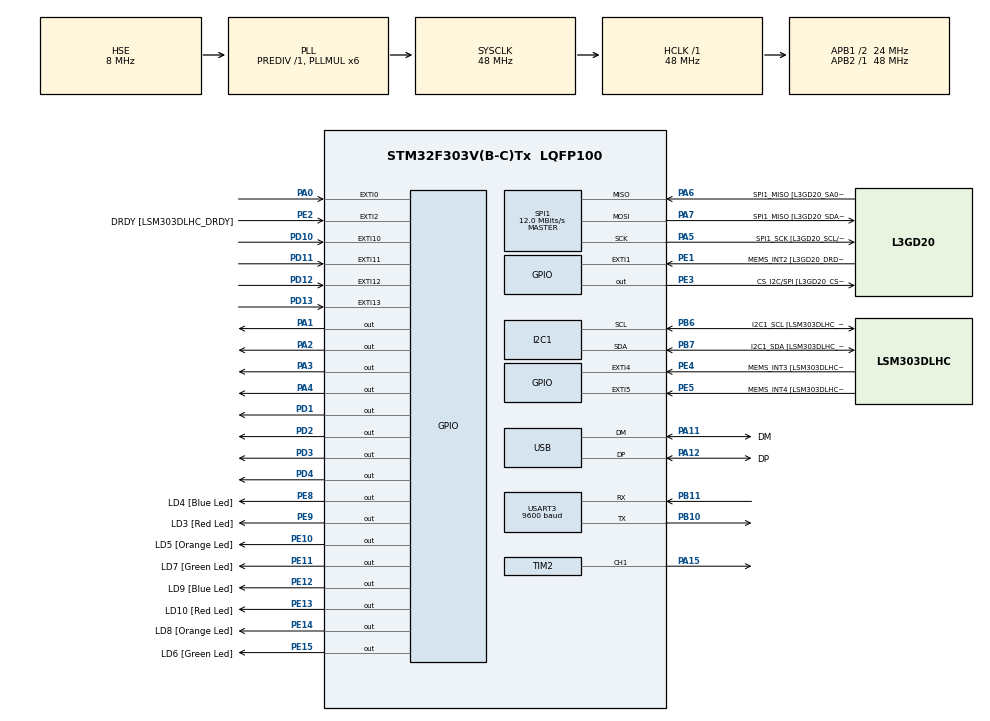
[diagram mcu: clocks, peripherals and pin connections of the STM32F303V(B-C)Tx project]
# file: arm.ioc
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I2C1.Timing=0x2000090E
I2C1.Timing-I2C=0x2000090E
Mcu.Family=STM32F3
Mcu.Name=STM32F303V(B-C)Tx
Mcu.Package=LQFP100
NVIC.EXTI0_IRQn=true\:0\:0\:false\:false\:true\:true\:true\:true
NVIC.EXTI15_10_IRQn=true\:0\:0\:false\:false\:true\:true\:true\:true
NVIC.PriorityGroup=NVIC_PRIORITYGROUP_0
NVIC.TIM1_BRK_TIM15_IRQn=true\:0\:0\:false\:false\:true\:true\:true\:true
NVIC.TIM1_CC_IRQn=true\:0\:0\:false\:false\:true\:true\:true\:true
NVIC.TIM1_TRG_COM_TIM17_IRQn=true\:0\:0\:false\:false\:true\:true\:true\:true
NVIC.TIM1_UP_TIM16_IRQn=true\:0\:0\:false\:false\:true\:true\:true\:true
NVIC.TIM4_IRQn=true\:0\:0\:false\:false\:true\:true\:true\:true
NVIC.USART3_IRQn=true\:0\:0\:false\:false\:true\:true\:true\:true
PA0.GPIO_PuPd=GPIO_PULLDOWN
PA0.Signal=GPXTI0
PA1.Signal=GPIO_Output
PA11.GPIO_Label=DM
PA11.Mode=Device
PA11.Signal=USB_DM
PA12.GPIO_Label=DP
PA12.Mode=Device
PA12.Signal=USB_DP
PA13.GPIO_Label=SWDIO
PA13.Mode=Serial_Wire
PA13.Signal=SYS_JTMS-SWDIO
PA14.GPIO_Label=SWCLK
PA14.Mode=Serial_Wire
PA14.Signal=SYS_JTCK-SWCLK
PA15.Signal=S_TIM2_CH1_ETR
PA2.Signal=GPIO_Output
PA3.Signal=GPIO_Output
PA4.Signal=GPIO_Output
PA5.GPIO_Label=SPI1_SCK [L3GD20_SCL/SPC]
PA5.Mode=Full_Duplex_Master
PA5.Signal=SPI1_SCK
PA6.GPIO_Label=SPI1_MISO [L3GD20_SA0/SDO]
PA6.Mode=Full_Duplex_Master
PA6.Signal=SPI1_MISO
PA7.GPIO_Label=SPI1_MISO [L3GD20_SDA/SDI/SDO]
PA7.Mode=Full_Duplex_Master
PA7.Signal=SPI1_MOSI
PB10.Mode=Asynchronous
PB10.Signal=USART3_TX
PB11.Mode=Asynchronous
PB11.Signal=USART3_RX
PB3.GPIO_Label=SWO
PB3.Signal=SYS_JTDO-TRACESWO
PB6.GPIO_Label=I2C1_SCL [LSM303DLHC_SCL]
PB6.GPIO_Pu=GPIO_PULLUP
PB6.Mode=I2C
PB6.Signal=I2C1_SCL
PB7.GPIO_Label=I2C1_SDA [LSM303DLHC_SDA]
PB7.GPIO_Pu=GPIO_PULLUP
PB7.Mode=I2C
PB7.Signal=I2C1_SDA
PC14-OSC32_IN.GPIO_Label=OSC32_IN
PC14-OSC32_IN.Signal=RCC_OSC32_IN
PC15-OSC32_OUT.GPIO_Label=OSC32_OUT
PC15-OSC32_OUT.Signal=RCC_OSC32_OUT
PD1.Signal=GPIO_Output
PD10.GPIO_PuPd=GPIO_PULLDOWN
PD10.Signal=GPXTI10
PD11.GPIO_PuPd=GPIO_PULLDOWN
PD11.Signal=GPXTI11
PD12.GPIO_PuPd=GPIO_PULLDOWN
PD12.Signal=GPXTI12
PD13.GPIO_PuPd=GPIO_PULLDOWN
PD13.Signal=GPXTI13
PD2.Signal=GPIO_Output
PD3.Signal=GPIO_Output
PD4.Signal=GPIO_Output
PE1.GPIO_Label=MEMS_INT2 [L3GD20_DRDY/INT2]
PE1.GPIO_ModeDefaultEXTI=GPIO_MODE_EVT_RISING
PE1.Signal=GPXTI1
PE10.GPIO_Label=LD5 [Orange Led]
PE10.Signal=GPIO_Output
PE11.GPIO_Label=LD7 [Green Led]
PE11.Signal=GPIO_Output
PE12.GPIO_Label=LD9 [Blue Led]
PE12.Signal=GPIO_Output
PE13.GPIO_Label=LD10 [Red Led]
PE13.Signal=GPIO_Output
PE14.GPIO_Label=LD8 [Orange Led]
PE14.Signal=GPIO_Output
PE15.GPIO_Label=LD6 [Green Led]
PE15.Signal=GPIO_Output
PE2.GPIO_Label=DRDY [LSM303DLHC_DRDY]
PE2.GPIO_ModeDefaultEXTI=GPIO_MODE_EVT_RISING
PE2.Signal=GPXTI2
PE3.GPIO_Label=CS_I2C/SPI [L3GD20_CS_I2C/SPI]
PE3.Signal=GPIO_Output
PE4.GPIO_Label=MEMS_INT3 [LSM303DLHC_INT1]
PE4.GPIO_ModeDefaultEXTI=GPIO_MODE_EVT_RISING
PE4.Signal=GPXTI4
PE5.GPIO_Label=MEMS_INT4 [LSM303DLHC_INT2]
PE5.GPIO_ModeDefaultEXTI=GPIO_MODE_EVT_RISING
PE5.Signal=GPXTI5
PE8.GPIO_Label=LD4 [Blue Led]
PE8.Signal=GPIO_Output
PE9.GPIO_Label=LD3 [Red Led]
PE9.Signal=GPIO_Output
PF0-OSC_IN.GPIO_Label=OSC_IN
PF0-OSC_IN.Mode=HSE-External-Clock-Source
PF0-OSC_IN.Signal=RCC_OSC_IN
PF1-OSC_OUT.GPIO_Label=OSC_OUT
PF1-OSC_OUT.Signal=RCC_OSC_OUT
ProjectManager.HeapSize=0x200
ProjectManager.StackSize=0x400
ProjectManager.TargetToolchain=STM32CubeIDE
RCC.AHBFreq_Value=48000000
RCC.APB1CLKDivider=RCC_HCLK_DIV2
RCC.APB1Freq_Value=24000000
RCC.APB1TimFreq_Value=48000000
RCC.APB2Freq_Value=48000000
RCC.APB2TimFreq_Value=48000000
RCC.CortexFreq_Value=48000000
RCC.HCLKFreq_Value=48000000
RCC.HSE_VALUE=8000000
RCC.HSI_VALUE=8000000
RCC.LSE_VALUE=32768
RCC.PLLMUL=RCC_PLL_MUL6
RCC.SYSCLKFreq_VALUE=48000000
RCC.SYSCLKSourceVirtual=RCC_SYSCLKSOURCE_PLLCLK
RCC.USBFreq_Value=48000000
SH.S_TIM2_CH1_ETR.0=TIM2_CH1,PWM Generation1 CH1
SPI1.BaudRatePrescaler=SPI_BAUDRATEPRESCALER_4
SPI1.BaudRatePrescaler-Full_Duplex_Master=SPI_BAUDRATEPRESCALER_2
SPI1.CalculateBaudRate=12.0 MBits/s
SPI1.CalculateBaudRate-Full_Duplex_Master=24.0 MBits/s
SPI1.Direction=SPI_DIRECTION_2LINES
SPI1.Mode=SPI_MODE_MASTER
SPI1.Mode-Full_Duplex_Master=SPI_MODE_MASTER
SPI1.VirtualType=VM_MASTER
TIM1.Period=999
TIM1.Prescaler=2399
TIM2.Channel-PWM\ Generation1\ CH1=TIM_CHANNEL_1
TIM4.Period=999
TIM4.Prescaler=23
USART3.BaudRate=9600
USART3.VirtualMode-Asynchronous=VM_ASYNC
VP_TIM1_VS_ClockSourceINT.Mode=Internal
VP_TIM2_VS_ClockSourceINT.Mode=Internal
VP_TIM4_VS_ClockSourceINT.Mode=Internal
board=STM32F3DISCOVERY

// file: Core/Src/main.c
/* USER CODE BEGIN Header */
/**
  ******************************************************************************
  * @file           : main.c
  * @brief          : Main program body
  ******************************************************************************
  * @attention
  *
  * Copyright (c) 2022 STMicroelectronics.
  * All rights reserved.
  *
  * This software is licensed under terms that can be found in the LICENSE file
  * in the root directory of this software component.
  * If no LICENSE file comes with this software, it is provided AS-IS.
  *
  ******************************************************************************
  */
/* USER CODE END Header */
#include "main.h"

/* USER CODE BEGIN Includes */
#include "stdlib.h"
#include "string.h"
#include "ctype.h"
#include "math.h"

/* USER CODE END Includes */

/* USER CODE BEGIN PTD */
/*
 *  1. Set Max Level
 *  2. Set Level
 *  3. Set Wait
 *  4. Set LED
 *  5. Test
 *  6. Admin
 *  7. Start
 *
 */
typedef struct ProcessCommandResult {
	int command_number;
	char message[50];
	int parameters[10];
} ProcessCommandResult;

typedef struct Queue{
	int floors[10];
	int length; //count of floors in queue
} Queue;

/*
 * 1 => Empty State
 * 2 => Admin State
 * 3 => Move State
 * 4 => Waiting State
 */
typedef int State;

/* USER CODE END PTD */

/* USER CODE BEGIN PD */
#define ES 1  //Empty State
#define AS 2  //Admin State
#define MS 3   //Move State
#define WS 4	//Wait State
#define MOVE_TIME 1000

/* USER CODE END PD */

I2C_HandleTypeDef hi2c1;

SPI_HandleTypeDef hspi1;

TIM_HandleTypeDef htim1;
TIM_HandleTypeDef htim2;
TIM_HandleTypeDef htim4;

UART_HandleTypeDef huart3;

PCD_HandleTypeDef hpcd_USB_FS;

/* USER CODE BEGIN PV */
unsigned char uart_buffer[20];
unsigned char uart_data;
int uart_buffer_pos = 0;

int max_level = 9;
int level = 0; //current floor
int next_floor = -1;
int choice_floor = 0;
Queue floors_queue;
int wait_time = 2000;
int wait_counter = 1;
int move_counter = 1;
State state = ES;

int on_off_danger_time = 0;
int is_danger_button_active = 0;
int led_status;
int should_led_on_in_alarm = 0;
int is_user_can_active_alarm = 1;

int gpio_external_button_time =0;

int ssEnableDigit = 1;

/* USER CODE END PV */

void SystemClock_Config(void);
static void MX_GPIO_Init(void);
static void MX_I2C1_Init(void);
static void MX_SPI1_Init(void);
static void MX_USB_PCD_Init(void);
static void MX_TIM2_Init(void);
static void MX_TIM4_Init(void);
static void MX_USART3_UART_Init(void);
static void MX_TIM1_Init(void);
/* USER CODE BEGIN PFP */
//handlers
void HAL_GPIO_EXTI_Callback(uint16_t GPIO_Pin);
void HAL_TIM_PeriodElapsedCallback(TIM_HandleTypeDef *htim);
void HAL_UART_RxCpltCallback(UART_HandleTypeDef *huart);
//buzzer
void PWM_Play();
void PWM_Change_Tone(uint16_t pwm_freq, uint16_t volume);
void PWM_Pause();
void Update_Melody();
//elevator admin commands

ProcessCommandResult Process_Command(char* string);

ProcessCommandResult Get_Parameter_In_Command_START(char* string);
ProcessCommandResult Get_Parameter_In_Command_AP(char* string);
ProcessCommandResult Get_Parameter_In_Command_SML(char* string);
ProcessCommandResult Get_Parameter_In_Command_SL(char* string);
ProcessCommandResult Get_Parameter_In_Command_SLED(char* string);
ProcessCommandResult Get_Parameter_In_Command_SWT(char* string);
ProcessCommandResult Get_Parameter_In_Command_TEST(char* string);

//int to bcd
void intToBcd(int x);

//alarm (de)active functions
void Active_Danger_Alarm();
void DeActive_Danger_Alarm();
//floors queue
int Is_Floors_Queue_Empty(Queue* q);
int getFloorInQueue(Queue* q);
void setFloorInQueue(Queue* q,int new_floor);
void Init_Floors_In_Queue_With_Empty(Queue* q);
/* USER CODE END PFP */

int main(void)
{

  /* MCU Configuration--------------------------------------------------------*/

  /* Reset of all peripherals, Initializes the Flash interface and the Systick. */
  HAL_Init();

  /* Configure the system clock */
  SystemClock_Config();

  /* Initialize all configured peripherals */
  MX_GPIO_Init();
  MX_I2C1_Init();
  MX_SPI1_Init();
  MX_USB_PCD_Init();
  MX_TIM2_Init();
  MX_TIM4_Init();
  MX_USART3_UART_Init();
  MX_TIM1_Init();
  /* USER CODE BEGIN 2 */
  Init_Floors_In_Queue_With_Empty(&floors_queue);
  HAL_TIM_Base_Start_IT(&htim4);
  HAL_TIM_Base_Start_IT(&htim1);
  HAL_UART_Receive_IT(&huart3, &uart_data, sizeof(uart_data));
  /* USER CODE END 2 */

  /* Infinite loop */
  while (1)
  {

  }
}

void SystemClock_Config(void)
{
  RCC_OscInitTypeDef RCC_OscInitStruct = {0};
  RCC_ClkInitTypeDef RCC_ClkInitStruct = {0};
  RCC_PeriphCLKInitTypeDef PeriphClkInit = {0};

  /** Initializes the RCC Oscillators according to the specified parameters
  * in the RCC_OscInitTypeDef structure.
  */
  RCC_OscInitStruct.OscillatorType = RCC_OSCILLATORTYPE_HSI|RCC_OSCILLATORTYPE_HSE;
  RCC_OscInitStruct.HSEState = RCC_HSE_BYPASS;
  RCC_OscInitStruct.HSEPredivValue = RCC_HSE_PREDIV_DIV1;
  RCC_OscInitStruct.HSIState = RCC_HSI_ON;
  RCC_OscInitStruct.HSICalibrationValue = RCC_HSICALIBRATION_DEFAULT;
  RCC_OscInitStruct.PLL.PLLState = RCC_PLL_ON;
  RCC_OscInitStruct.PLL.PLLSource = RCC_PLLSOURCE_HSE;
  RCC_OscInitStruct.PLL.PLLMUL = RCC_PLL_MUL6;
  if (HAL_RCC_OscConfig(&RCC_OscInitStruct) != HAL_OK)
  {
    Error_Handler();
  }

  /** Initializes the CPU, AHB and APB buses clocks
  */
  RCC_ClkInitStruct.ClockType = RCC_CLOCKTYPE_HCLK|RCC_CLOCKTYPE_SYSCLK
                              |RCC_CLOCKTYPE_PCLK1|RCC_CLOCKTYPE_PCLK2;
  RCC_ClkInitStruct.SYSCLKSource = RCC_SYSCLKSOURCE_PLLCLK;
  RCC_ClkInitStruct.AHBCLKDivider = RCC_SYSCLK_DIV1;
  RCC_ClkInitStruct.APB1CLKDivider = RCC_HCLK_DIV2;
  RCC_ClkInitStruct.APB2CLKDivider = RCC_HCLK_DIV1;

  if (HAL_RCC_ClockConfig(&RCC_ClkInitStruct, FLASH_LATENCY_1) != HAL_OK)
  {
    Error_Handler();
  }
  PeriphClkInit.PeriphClockSelection = RCC_PERIPHCLK_USB|RCC_PERIPHCLK_USART3
                              |RCC_PERIPHCLK_I2C1|RCC_PERIPHCLK_TIM1;
  PeriphClkInit.Usart3ClockSelection = RCC_USART3CLKSOURCE_PCLK1;
  PeriphClkInit.I2c1ClockSelection = RCC_I2C1CLKSOURCE_HSI;
  PeriphClkInit.USBClockSelection = RCC_USBCLKSOURCE_PLL;
  PeriphClkInit.Tim1ClockSelection = RCC_TIM1CLK_HCLK;
  if (HAL_RCCEx_PeriphCLKConfig(&PeriphClkInit) != HAL_OK)
  {
    Error_Handler();
  }
}

static void MX_I2C1_Init(void)
{

  hi2c1.Instance = I2C1;
  hi2c1.Init.Timing = 0x2000090E;
  hi2c1.Init.OwnAddress1 = 0;
  hi2c1.Init.AddressingMode = I2C_ADDRESSINGMODE_7BIT;
  hi2c1.Init.DualAddressMode = I2C_DUALADDRESS_DISABLE;
  hi2c1.Init.OwnAddress2 = 0;
  hi2c1.Init.OwnAddress2Masks = I2C_OA2_NOMASK;
  hi2c1.Init.GeneralCallMode = I2C_GENERALCALL_DISABLE;
  hi2c1.Init.NoStretchMode = I2C_NOSTRETCH_DISABLE;
  if (HAL_I2C_Init(&hi2c1) != HAL_OK)
  {
    Error_Handler();
  }

  /** Configure Analogue filter
  */
  if (HAL_I2CEx_ConfigAnalogFilter(&hi2c1, I2C_ANALOGFILTER_ENABLE) != HAL_OK)
  {
    Error_Handler();
  }

  /** Configure Digital filter
  */
  if (HAL_I2CEx_ConfigDigitalFilter(&hi2c1, 0) != HAL_OK)
  {
    Error_Handler();
  }

}

static void MX_SPI1_Init(void)
{

  /* SPI1 parameter configuration*/
  hspi1.Instance = SPI1;
  hspi1.Init.Mode = SPI_MODE_MASTER;
  hspi1.Init.Direction = SPI_DIRECTION_2LINES;
  hspi1.Init.DataSize = SPI_DATASIZE_4BIT;
  hspi1.Init.CLKPolarity = SPI_POLARITY_LOW;
  hspi1.Init.CLKPhase = SPI_PHASE_1EDGE;
  hspi1.Init.NSS = SPI_NSS_SOFT;
  hspi1.Init.BaudRatePrescaler = SPI_BAUDRATEPRESCALER_4;
  hspi1.Init.FirstBit = SPI_FIRSTBIT_MSB;
  hspi1.Init.TIMode = SPI_TIMODE_DISABLE;
  hspi1.Init.CRCCalculation = SPI_CRCCALCULATION_DISABLE;
  hspi1.Init.CRCPolynomial = 7;
  hspi1.Init.CRCLength = SPI_CRC_LENGTH_DATASIZE;
  hspi1.Init.NSSPMode = SPI_NSS_PULSE_ENABLE;
  if (HAL_SPI_Init(&hspi1) != HAL_OK)
  {
    Error_Handler();
  }

}

static void MX_TIM1_Init(void)
{

  TIM_ClockConfigTypeDef sClockSourceConfig = {0};
  TIM_MasterConfigTypeDef sMasterConfig = {0};

  htim1.Instance = TIM1;
  htim1.Init.Prescaler = 2399;
  htim1.Init.CounterMode = TIM_COUNTERMODE_UP;
  htim1.Init.Period = 999;
  htim1.Init.ClockDivision = TIM_CLOCKDIVISION_DIV1;
  htim1.Init.RepetitionCounter = 0;
  htim1.Init.AutoReloadPreload = TIM_AUTORELOAD_PRELOAD_DISABLE;
  if (HAL_TIM_Base_Init(&htim1) != HAL_OK)
  {
    Error_Handler();
  }
  sClockSourceConfig.ClockSource = TIM_CLOCKSOURCE_INTERNAL;
  if (HAL_TIM_ConfigClockSource(&htim1, &sClockSourceConfig) != HAL_OK)
  {
    Error_Handler();
  }
  sMasterConfig.MasterOutputTrigger = TIM_TRGO_RESET;
  sMasterConfig.MasterOutputTrigger2 = TIM_TRGO2_RESET;
  sMasterConfig.MasterSlaveMode = TIM_MASTERSLAVEMODE_DISABLE;
  if (HAL_TIMEx_MasterConfigSynchronization(&htim1, &sMasterConfig) != HAL_OK)
  {
    Error_Handler();
  }

}

static void MX_TIM2_Init(void)
{

  TIM_ClockConfigTypeDef sClockSourceConfig = {0};
  TIM_MasterConfigTypeDef sMasterConfig = {0};
  TIM_OC_InitTypeDef sConfigOC = {0};

  htim2.Instance = TIM2;
  htim2.Init.Prescaler = 0;
  htim2.Init.CounterMode = TIM_COUNTERMODE_UP;
  htim2.Init.Period = 4294967295;
  htim2.Init.ClockDivision = TIM_CLOCKDIVISION_DIV1;
  htim2.Init.AutoReloadPreload = TIM_AUTORELOAD_PRELOAD_DISABLE;
  if (HAL_TIM_Base_Init(&htim2) != HAL_OK)
  {
    Error_Handler();
  }
  sClockSourceConfig.ClockSource = TIM_CLOCKSOURCE_INTERNAL;
  if (HAL_TIM_ConfigClockSource(&htim2, &sClockSourceConfig) != HAL_OK)
  {
    Error_Handler();
  }
  if (HAL_TIM_PWM_Init(&htim2) != HAL_OK)
  {
    Error_Handler();
  }
  sMasterConfig.MasterOutputTrigger = TIM_TRGO_RESET;
  sMasterConfig.MasterSlaveMode = TIM_MASTERSLAVEMODE_DISABLE;
  if (HAL_TIMEx_MasterConfigSynchronization(&htim2, &sMasterConfig) != HAL_OK)
  {
    Error_Handler();
  }
  sConfigOC.OCMode = TIM_OCMODE_PWM1;
  sConfigOC.Pulse = 0;
  sConfigOC.OCPolarity = TIM_OCPOLARITY_HIGH;
  sConfigOC.OCFastMode = TIM_OCFAST_DISABLE;
  if (HAL_TIM_PWM_ConfigChannel(&htim2, &sConfigOC, TIM_CHANNEL_1) != HAL_OK)
  {
    Error_Handler();
  }
  HAL_TIM_MspPostInit(&htim2);

}

static void MX_TIM4_Init(void)
{

  TIM_ClockConfigTypeDef sClockSourceConfig = {0};
  TIM_MasterConfigTypeDef sMasterConfig = {0};

  htim4.Instance = TIM4;
  htim4.Init.Prescaler = 23;
  htim4.Init.CounterMode = TIM_COUNTERMODE_UP;
  htim4.Init.Period = 999;
  htim4.Init.ClockDivision = TIM_CLOCKDIVISION_DIV1;
  htim4.Init.AutoReloadPreload = TIM_AUTORELOAD_PRELOAD_DISABLE;
  if (HAL_TIM_Base_Init(&htim4) != HAL_OK)
  {
    Error_Handler();
  }
  sClockSourceConfig.ClockSource = TIM_CLOCKSOURCE_INTERNAL;
  if (HAL_TIM_ConfigClockSource(&htim4, &sClockSourceConfig) != HAL_OK)
  {
    Error_Handler();
  }
  sMasterConfig.MasterOutputTrigger = TIM_TRGO_RESET;
  sMasterConfig.MasterSlaveMode = TIM_MASTERSLAVEMODE_DISABLE;
  if (HAL_TIMEx_MasterConfigSynchronization(&htim4, &sMasterConfig) != HAL_OK)
  {
    Error_Handler();
  }

}

static void MX_USART3_UART_Init(void)
{

  huart3.Instance = USART3;
  huart3.Init.BaudRate = 9600;
  huart3.Init.WordLength = UART_WORDLENGTH_8B;
  huart3.Init.StopBits = UART_STOPBITS_1;
  huart3.Init.Parity = UART_PARITY_NONE;
  huart3.Init.Mode = UART_MODE_TX_RX;
  huart3.Init.HwFlowCtl = UART_HWCONTROL_NONE;
  huart3.Init.OverSampling = UART_OVERSAMPLING_16;
  huart3.Init.OneBitSampling = UART_ONE_BIT_SAMPLE_DISABLE;
  huart3.AdvancedInit.AdvFeatureInit = UART_ADVFEATURE_NO_INIT;
  if (HAL_UART_Init(&huart3) != HAL_OK)
  {
    Error_Handler();
  }

}

static void MX_USB_PCD_Init(void)
{

  hpcd_USB_FS.Instance = USB;
  hpcd_USB_FS.Init.dev_endpoints = 8;
  hpcd_USB_FS.Init.speed = PCD_SPEED_FULL;
  hpcd_USB_FS.Init.phy_itface = PCD_PHY_EMBEDDED;
  hpcd_USB_FS.Init.low_power_enable = DISABLE;
  hpcd_USB_FS.Init.battery_charging_enable = DISABLE;
  if (HAL_PCD_Init(&hpcd_USB_FS) != HAL_OK)
  {
    Error_Handler();
  }

}

static void MX_GPIO_Init(void)
{
  GPIO_InitTypeDef GPIO_InitStruct = {0};

  /* GPIO Ports Clock Enable */
  __HAL_RCC_GPIOE_CLK_ENABLE();
  __HAL_RCC_GPIOC_CLK_ENABLE();
  __HAL_RCC_GPIOF_CLK_ENABLE();
  __HAL_RCC_GPIOA_CLK_ENABLE();
  __HAL_RCC_GPIOB_CLK_ENABLE();
  __HAL_RCC_GPIOD_CLK_ENABLE();

  /*Configure GPIO pin Output Level */
  HAL_GPIO_WritePin(GPIOE, CS_I2C_SPI_Pin|LD4_Pin|LD3_Pin|LD5_Pin
                          |LD7_Pin|LD9_Pin|LD10_Pin|LD8_Pin
                          |LD6_Pin, GPIO_PIN_RESET);

  /*Configure GPIO pin Output Level */
  HAL_GPIO_WritePin(GPIOA, GPIO_PIN_1|GPIO_PIN_2|GPIO_PIN_3|GPIO_PIN_4, GPIO_PIN_RESET);

  /*Configure GPIO pin Output Level */
  HAL_GPIO_WritePin(GPIOD, GPIO_PIN_1|GPIO_PIN_2|GPIO_PIN_3|GPIO_PIN_4, GPIO_PIN_RESET);

  /*Configure GPIO pins : DRDY_Pin MEMS_INT3_Pin MEMS_INT4_Pin MEMS_INT2_Pin */
  GPIO_InitStruct.Pin = DRDY_Pin|MEMS_INT3_Pin|MEMS_INT4_Pin|MEMS_INT2_Pin;
  GPIO_InitStruct.Mode = GPIO_MODE_EVT_RISING;
  GPIO_InitStruct.Pull = GPIO_NOPULL;
  HAL_GPIO_Init(GPIOE, &GPIO_InitStruct);

  /*Configure GPIO pins : CS_I2C_SPI_Pin LD4_Pin LD3_Pin LD5_Pin
                           LD7_Pin LD9_Pin LD10_Pin LD8_Pin
                           LD6_Pin */
  GPIO_InitStruct.Pin = CS_I2C_SPI_Pin|LD4_Pin|LD3_Pin|LD5_Pin
                          |LD7_Pin|LD9_Pin|LD10_Pin|LD8_Pin
                          |LD6_Pin;
  GPIO_InitStruct.Mode = GPIO_MODE_OUTPUT_PP;
  GPIO_InitStruct.Pull = GPIO_NOPULL;
  GPIO_InitStruct.Speed = GPIO_SPEED_FREQ_LOW;
  HAL_GPIO_Init(GPIOE, &GPIO_InitStruct);

  /*Configure GPIO pin : PA0 */
  GPIO_InitStruct.Pin = GPIO_PIN_0;
  GPIO_InitStruct.Mode = GPIO_MODE_IT_RISING;
  GPIO_InitStruct.Pull = GPIO_PULLDOWN;
  HAL_GPIO_Init(GPIOA, &GPIO_InitStruct);

  /*Configure GPIO pins : PA1 PA2 PA3 PA4 */
  GPIO_InitStruct.Pin = GPIO_PIN_1|GPIO_PIN_2|GPIO_PIN_3|GPIO_PIN_4;
  GPIO_InitStruct.Mode = GPIO_MODE_OUTPUT_PP;
  GPIO_InitStruct.Pull = GPIO_NOPULL;
  GPIO_InitStruct.Speed = GPIO_SPEED_FREQ_LOW;
  HAL_GPIO_Init(GPIOA, &GPIO_InitStruct);

  /*Configure GPIO pins : PD10 PD11 PD12 PD13 */
  GPIO_InitStruct.Pin = GPIO_PIN_10|GPIO_PIN_11|GPIO_PIN_12|GPIO_PIN_13;
  GPIO_InitStruct.Mode = GPIO_MODE_IT_RISING;
  GPIO_InitStruct.Pull = GPIO_PULLDOWN;
  HAL_GPIO_Init(GPIOD, &GPIO_InitStruct);

  /*Configure GPIO pins : PD1 PD2 PD3 PD4 */
  GPIO_InitStruct.Pin = GPIO_PIN_1|GPIO_PIN_2|GPIO_PIN_3|GPIO_PIN_4;
  GPIO_InitStruct.Mode = GPIO_MODE_OUTPUT_PP;
  GPIO_InitStruct.Pull = GPIO_NOPULL;
  GPIO_InitStruct.Speed = GPIO_SPEED_FREQ_LOW;
  HAL_GPIO_Init(GPIOD, &GPIO_InitStruct);

  /* EXTI interrupt init*/
  HAL_NVIC_SetPriority(EXTI0_IRQn, 0, 0);
  HAL_NVIC_EnableIRQ(EXTI0_IRQn);

  HAL_NVIC_SetPriority(EXTI15_10_IRQn, 0, 0);
  HAL_NVIC_EnableIRQ(EXTI15_10_IRQn);

}

/* USER CODE BEGIN 4 */
void Init_Floors_In_Queue_With_Empty(Queue* q){
	for (int i=0;i<10;i++){
		q->floors[i] = -1;
	}
	q->length=0;
	return;
}
int Is_Floors_Queue_Empty(Queue* q){
	if(q->floors[0] == -1){
		return 1;
	}else{
		return 0;
	}
}

int getFloorInQueue(Queue* q){

	int temp = q->floors[0];
	for(int i=0;i <max_level-1;i++){
		q->floors[i] = q->floors[i+1];
	}
	q->floors[max_level - 1] = -1;
	q->length--;
	return temp;
}

void setFloorInQueue(Queue* q,int new_floor){
	if(new_floor==next_floor){
		return;
	}
	for(int i=0 ; i < max_level ; i++){
		if(q->floors[i] == new_floor){
			return;
		}
	}

	q->floors[q->length] = new_floor;
	if(new_floor >= 0){
		q->length++;
	}
	return;
}

void Active_Danger_Alarm(){
	  HAL_TIM_PWM_Start(&htim2, TIM_CHANNEL_1);
	  is_danger_button_active =1;
}
void DeActive_Danger_Alarm(){
	  HAL_TIM_PWM_Stop(&htim2, TIM_CHANNEL_1);
   	  is_danger_button_active =0;
}

void HAL_GPIO_EXTI_Callback(uint16_t GPIO_Pin){
	if(HAL_GetTick() - gpio_external_button_time <200){
		return;
	}

	if(GPIO_Pin == GPIO_PIN_10){
		if(choice_floor == max_level){
			choice_floor = max_level;
		}else{
			choice_floor += 1;
		}
	}else if(GPIO_Pin == GPIO_PIN_11){
		if(choice_floor == 0){
			choice_floor = 0;
		}else{
			choice_floor -= 1;
		}
	}else if(GPIO_Pin == GPIO_PIN_12){
		if(state == ES){
			setFloorInQueue(&floors_queue, choice_floor);
			next_floor = getFloorInQueue(&floors_queue);
			state = MS;
		}else if(state == MS || state == WS){
			setFloorInQueue(&floors_queue, choice_floor);
		}
	}else if(GPIO_Pin == GPIO_PIN_0){
		if(is_user_can_active_alarm == 1){
			if(is_danger_button_active == 0){
				Active_Danger_Alarm();
			}else{
				DeActive_Danger_Alarm();
				HAL_GPIO_WritePin(GPIOE, GPIO_PIN_8 | GPIO_PIN_9| GPIO_PIN_10 | GPIO_PIN_11 | GPIO_PIN_12 | GPIO_PIN_13 | GPIO_PIN_14 | GPIO_PIN_15, 0);
			}
		}
	}
}
void intToBcd(int num){
  int x1 = num & 1; //PA4 --> A  0001  kam arzesh
  int x2 = num & 2; //PA3 --> B
  int x3 = num & 4; //PA2 --> C
  int x4 = num & 8; //PA1 --> D 1000 ba arzesh
  if(x1>0) x1=1;
  if(x2>0) x2=1;
  if(x3>0) x3=1;
  if(x4>0) x4=1;
  HAL_GPIO_WritePin(GPIOA, GPIO_PIN_1, x4);
  HAL_GPIO_WritePin(GPIOA, GPIO_PIN_2, x3);
  HAL_GPIO_WritePin(GPIOA, GPIO_PIN_3, x2);
  HAL_GPIO_WritePin(GPIOA, GPIO_PIN_4, x1);
}

void HAL_TIM_PeriodElapsedCallback(TIM_HandleTypeDef *htim){
	if(htim->Instance == TIM4){
		//Period = 3 MS
		if(ssEnableDigit == 1){
			HAL_GPIO_WritePin(GPIOD, GPIO_PIN_2 | GPIO_PIN_3 | GPIO_PIN_4, 1);
			HAL_GPIO_WritePin(GPIOD, GPIO_PIN_1, 0);
			intToBcd(choice_floor %10 );
			ssEnableDigit = 4;
		}else if(ssEnableDigit == 4){
			HAL_GPIO_WritePin(GPIOD, GPIO_PIN_2 | GPIO_PIN_3 | GPIO_PIN_1, 1);
			HAL_GPIO_WritePin(GPIOD, GPIO_PIN_4, 0);
			intToBcd(level %10);
			ssEnableDigit = 1;
		}
	}else if(htim->Instance == TIM1){

		//Enable or Disable Elevator when state become AS

		//Period = 50 MS
		if(state == ES || state == AS){
			return;
		}else if(state == MS){
			if(move_counter * 50 < MOVE_TIME){
				move_counter += 1;
			}else{
				//End Of Moving Time For A Floor
				//When move time of the elevator for a floor is over,
				//we have 2 state:
				//state1: Elevator reached to desired floor:
				//state must changes to (ES) OR (WS (And Then Move For Next Floor In Queue))
				//in this state function enter to IF
				//state2: Elevator does'nt reached to desired floor:
				//state must changes to WS
				move_counter = 1;
				wait_counter = 1;

				if(level < next_floor){
					level++;
				}else if(level > next_floor){
					level--;
				}else{
					int is_floors_queue_empty = Is_Floors_Queue_Empty(&floors_queue);
					if(is_floors_queue_empty == 1){
						state = ES;
						next_floor = -1;
					}else{
						state = WS;
					}
				}

			}
		}else if (state == WS){
			if(wait_counter * 50 < wait_time){
				wait_counter += 1;
			}else{
				//End Of Waiting Time ::
				//When stop time of the elevator on a floor is over,
				//the elevator goes to the movement state (MS).
				//then the movement counter must be reset
				//to count the number of movement interruptions.
				move_counter = 1;
				state = MS;
				int is_floors_queue_empty = Is_Floors_Queue_Empty(&floors_queue);
				if(level == next_floor && is_floors_queue_empty != 1){
					next_floor = getFloorInQueue(&floors_queue);
				}
			}
		}
	}
}
void HAL_UART_RxCpltCallback(UART_HandleTypeDef *huart){
	if(huart->Instance == USART3){
		if(uart_data != 0x0A){
			uart_buffer[uart_buffer_pos] = uart_data;
			uart_buffer_pos += 1;
		}else{
			uart_buffer[uart_buffer_pos] = '\0';
			int str_len = uart_buffer_pos + 2; //if user enter {aa} str_len is 4 because {a + a + 0x0A + \0}
			char input[str_len];
			for (int i = 0; i < str_len; i++) {
				input[i] = toupper(uart_buffer[i]); //for example if user enter adMiN it changes to ADMIN for next processes
			}
			uart_buffer_pos = 0 ;

			ProcessCommandResult pcr = Process_Command(input);

			if(pcr.command_number == 1){
				//SET MAX LEVEL
				max_level = pcr.parameters[0];
				level = 0;
				Init_Floors_In_Queue_With_Empty(&floors_queue);

			}else if(pcr.command_number == 2){
				//SET LEVEL
				level = pcr.parameters[0];
				Init_Floors_In_Queue_With_Empty(&floors_queue);

			}else if(pcr.command_number == 3){
				//SET WAIT TIME
				wait_time = pcr.parameters[0];

			}else if(pcr.command_number == 4){
				//SET LED
				is_user_can_active_alarm = pcr.parameters[0];

			}else if(pcr.command_number == 5){
				//TEST
				Init_Floors_In_Queue_With_Empty(&floors_queue);
				for(int i=0;i < 10 && pcr.parameters[i] != -1;i++){
					setFloorInQueue(&floors_queue, pcr.parameters[i]);
				}
			}else if(pcr.command_number == 6){
				//Admin Login
				Init_Floors_In_Queue_With_Empty(&floors_queue);
				state = AS;
			}else if(pcr.command_number == 7){
				//Start
				choice_floor = 0;
				if(floors_queue.length>0){
					next_floor = getFloorInQueue(&floors_queue);
					state = MS;
				}else{
					state = ES;
				}
			}

			HAL_UART_Transmit(&huart3, pcr.message, strlen(pcr.message), 1000);
		}
		HAL_UART_Receive_IT(&huart3, &uart_data, sizeof(uart_data));
	}
}

void PWM_Change_Tone(uint16_t pwm_freq, uint16_t volume) // pwm_freq (1 - 20000), volume (0 - 1000)
{
    if (pwm_freq == 0 || pwm_freq > 20000)
    {
        __HAL_TIM_SET_COMPARE(&htim2, TIM_CHANNEL_1, 0);
    }
    else
    {
        const uint32_t internal_clock_freq = HAL_RCC_GetSysClockFreq();
        const uint16_t prescaler = 1 + internal_clock_freq / pwm_freq / 60000;
        const uint32_t timer_clock = internal_clock_freq / prescaler;
        const uint32_t period_cycles = timer_clock / pwm_freq;
        const uint32_t pulse_width = volume * period_cycles / 1000 / 2;
        TIM_HandleTypeDef* pwm = &htim2;
        pwm->Instance->PSC = prescaler - 1;
        pwm->Instance->ARR = period_cycles - 1;
        pwm->Instance->EGR = TIM_EGR_UG;
        __HAL_TIM_SET_COMPARE(&htim2, TIM_CHANNEL_1, pulse_width); // pwm_timer->Instance->CCR2 = pulse_width;
    }
}

void Update_Melody(){

	if(is_danger_button_active == 1 && HAL_GetTick() - on_off_danger_time > 250){
		on_off_danger_time = HAL_GetTick();
		if(should_led_on_in_alarm == 0){
			should_led_on_in_alarm = 1;
			PWM_Change_Tone(0, 50);
			HAL_GPIO_WritePin(GPIOE, GPIO_PIN_8 | GPIO_PIN_9| GPIO_PIN_10 | GPIO_PIN_11 | GPIO_PIN_12 | GPIO_PIN_13 | GPIO_PIN_14 | GPIO_PIN_15, 0);
		}else{
			should_led_on_in_alarm = 0;
			PWM_Change_Tone(2637, 50);
			HAL_GPIO_WritePin(GPIOE, GPIO_PIN_8 | GPIO_PIN_9| GPIO_PIN_10 | GPIO_PIN_11 | GPIO_PIN_12 | GPIO_PIN_13 | GPIO_PIN_14 | GPIO_PIN_15, 1);
		}
	}
}

ProcessCommandResult Process_Command(char* string){
	ProcessCommandResult pcr = {
			-1,"There is not a command with this name!!!\n", {}
	};
	if(strstr(string,"SET MAX LEVEL") != NULL){
		pcr = Get_Parameter_In_Command_SML(string);
	}else if(strstr(string,"SET WAIT") != NULL){
		pcr = Get_Parameter_In_Command_SWT(string);
	}else if(strstr(string,"SET LED") != NULL){
		pcr = Get_Parameter_In_Command_SLED(string);
	}else if(strstr(string,"SET LEVEL") != NULL){
		pcr = Get_Parameter_In_Command_SL(string);
	}else if(strstr(string,"TEST#") != NULL){
		pcr = Get_Parameter_In_Command_TEST(string);
	}else if(strstr(string,"START") != NULL){
		pcr = Get_Parameter_In_Command_START(string);
	}else if(strstr(string,"ADMIN#") != NULL){
		pcr= Get_Parameter_In_Command_AP(string);
	}
	return pcr;
}

ProcessCommandResult Get_Parameter_In_Command_START(char* string){
	//START
	ProcessCommandResult pcr = {
		7,"Successful Process",{}
	};
	for(int i=0; i < sizeof(pcr.parameters)/sizeof(pcr.parameters[0]) ; i++){
		pcr.parameters[i] = -1;
	}

	if(state != AS){
		pcr.command_number = -1;
		strcpy(pcr.message,"Admin is not logged\n");
		return pcr;
	}

	if(strcmp(string,"START") != 0 ){
		pcr.command_number = -1;
		strcpy(pcr.message,"command is wrong!!!\n");
	}else{
		strcpy(pcr.message,"program is exited from admin mode!!!\n");
	}
	return pcr;
}
ProcessCommandResult Get_Parameter_In_Command_AP(char* string){
	//ADMIN PASS => ADMIN#{1234}
	ProcessCommandResult pcr = {
		6,"Error",{}
	};
	for(int i=0; i < sizeof(pcr.parameters)/sizeof(pcr.parameters[0]) ; i++){
		pcr.parameters[i] = -1;
	}
	if(state == AS){
		pcr.command_number = -1;
		strcpy(pcr.message,"already you logged in.\n");
		return pcr;
	}
	if(state != ES){
		pcr.command_number = -1;
		strcpy(pcr.message,"for login, queue of elevator should be empty!!!\n");
		return pcr;
	}
	char copy_string[strlen(string)];
	strcpy(copy_string,string);
	char* command_string_parts[2] = {"",""};
	int i = 0;
	char* res = strtok(copy_string,"#");
	while(res != NULL && i < 2){
		command_string_parts[i]=res;
		i += 1;
		res = strtok(NULL,"#");
	}
	if(
			res != NULL ||
			(
				strcmp(command_string_parts[0],"ADMIN") !=0
			)
	){
		pcr.command_number = -1;
		strcpy(pcr.message,"command is wrong!!!\n");
		return pcr;
	}
	if(strcmp(command_string_parts[1],"1234") !=0){
		pcr.command_number = -1;
		strcpy(pcr.message , "password is wrong!!!\n");
		return pcr;
	}else{
		strcpy(pcr.message , "admin is logged successfully!!!\n");
	}
	return pcr;

}

ProcessCommandResult Get_Parameter_In_Command_SML(char* string){
	//SML => SET MAX LEVEL
	ProcessCommandResult pcr = {
		1,"Error",{}
	};
	for(int i=0; i < sizeof(pcr.parameters)/sizeof(pcr.parameters[0]) ; i++){
		pcr.parameters[i] = -1;
	}

	if(state != AS){
		pcr.command_number = -1;
		strcpy(pcr.message,"Admin is not logged\n");
		return pcr;
	}

	char copy_string[strlen(string)];
	strcpy(copy_string,string);
	char* command_string_parts[4] = {"","","",""};
	int i = 0;
	char* res = strtok(copy_string," ");
	while(res != NULL && i < 4){
		//Set Max Level 2 => if we split string with space we have 3 substrings.
		command_string_parts[i] = res;
		i += 1;
		res = strtok(NULL," ");
	}
	if(
			res != NULL ||
			(
				strcmp(command_string_parts[0],"SET") !=0
				|| strcmp(command_string_parts[1],"MAX") !=0
				|| strcmp(command_string_parts[2],"LEVEL") !=0
			)
	){
		strcpy(pcr.message , "command is wrong!!!\n");
		pcr.command_number = -1;
		return pcr;
	}
	int string_ml_len = strlen(command_string_parts[3]);
	if(string_ml_len != 1){
		strcpy(pcr.message , "command parameter is wrong . range is (0-9)!!!\n");
		pcr.command_number = -1;
		return pcr;
	}

	char string_ml[1];
	strcpy(string_ml,command_string_parts[3]);

	int ascii_char = (int) (string_ml[0]);
	if(ascii_char < 48 || ascii_char > 57){
		strcpy(pcr.message,"command parameter is wrong . range is (0-9)!!!\n");
		pcr.command_number = -1;
		return pcr;
	}else{
		char msg[50];
		sprintf(msg,"max level is changed to %d\n",ascii_char - 48);
		strcpy(pcr.message,msg);
		pcr.parameters[0] = ascii_char - 48;
	}
	return pcr;

}
ProcessCommandResult Get_Parameter_In_Command_SLED(char* string){
	//SLED => SET LED
	ProcessCommandResult pcr = {
		4,"Error",{}
	};
	for(int i=0; i < sizeof(pcr.parameters)/sizeof(pcr.parameters[0]) ; i++){
		pcr.parameters[i] = -1;
	}

	if(state != AS){
		pcr.command_number = -1;
		strcpy(pcr.message,"Admin is not logged\n");
		return pcr;
	}

	char copy_string[strlen(string)];
	strcpy(copy_string,string);
	char* command_string_parts[3] = {"","",""};
	int i = 0;
	char* res = strtok(copy_string," ");
	while(res != NULL && i < 3){
		//Set Max Level 2 => if we split string with space we have 3 substrings.
		command_string_parts[i] = res;
		i += 1;
		res = strtok(NULL, " ");
	}
	if(
			res != NULL ||
			(
				strcmp(command_string_parts[0],"SET") !=0
				|| strcmp(command_string_parts[1],"LED") !=0
			)
	){
		strcpy(pcr.message , "command is wrong!!!\n");
		pcr.command_number = -1;
		return pcr;
	}
	if(strcmp(command_string_parts[2],"ON") == 0){
		char msg[50] = "led is changed to on\n";
		strcpy(pcr.message,msg);
		pcr.parameters[0] = 1;
	}else if(strcmp(command_string_parts[2],"OFF") == 0){
		char msg[50] = "led is changed to off\n";
		strcpy(pcr.message,msg);
		pcr.parameters[0] = 0;
	}else{
		strcpy(pcr.message , "command parameter is wrong . parameter is {off} or {on}!!!\n");
		pcr.command_number = -1;
		return pcr;
	}
	return pcr;

}

ProcessCommandResult Get_Parameter_In_Command_SL(char* string){
	//SL => SET LEVEL
	ProcessCommandResult pcr = {
		2,"Error",{}
	};
	for(int i=0; i < sizeof(pcr.parameters)/sizeof(pcr.parameters[0]) ; i++){
		pcr.parameters[i] = -1;
	}

	if(state != AS){
		pcr.command_number = -1;
		strcpy(pcr.message,"Admin is not logged\n");
		return pcr;
	}

	char copy_string[strlen(string)];
	strcpy(copy_string,string);
	char* command_string_parts[3] = {"","",""};
	int i = 0;
	char* res = strtok(copy_string," ");
	while(res != NULL && i < 3){
		//Set Max Level 2 => if we split string with space we have 3 substrings.
		command_string_parts[i] = res;
		i += 1;
		res = strtok(NULL, " ");
	}
	if(
			res != NULL ||
			(
				strcmp(command_string_parts[0],"SET") !=0
				|| strcmp(command_string_parts[1],"LEVEL") !=0
			)
	){
		strcpy(pcr.message, "command is wrong!!!\n");
		pcr.command_number = -1;
		return pcr;
	}
	int string_level_len = strlen(command_string_parts[2]);
	if(string_level_len != 1){
		strcpy(pcr.message, "command parameter is wrong . parameter range is (0-9)!!!\n");
		pcr.command_number = -1;
		return pcr;
	}
	char string_level[1];
	strcpy(string_level,command_string_parts[2]);
	int ascii_char = (int) (string_level[0]);
	int max_level_ascii = 48 + max_level;
	if(ascii_char < 48 || ascii_char > max_level_ascii){
		char err[50];
		sprintf(err,"command parameter is wrong . parameter range is (0-%d)!!!\n",max_level_ascii-48);
		strcpy(pcr.message , err);
		pcr.command_number = -1;
		return pcr;
	}else{
		char msg[50];
		sprintf(msg,"level is changed to %d\n",ascii_char -48);
		strcpy(pcr.message,msg);
		pcr.parameters[0] = ascii_char -48;
	}
	return pcr;

}

ProcessCommandResult Get_Parameter_In_Command_SWT(char* string){
	//SML => SET Wait
	ProcessCommandResult pcr = {
		3,"Error",{}
	};
	for(int i=0; i < sizeof(pcr.parameters)/sizeof(pcr.parameters[0]) ; i++){
		pcr.parameters[i] = -1;
	}

	if(state != AS){
		pcr.command_number = -1;
		strcpy(pcr.message,"Admin is not logged\n");
		return pcr;
	}

	char copy_string[strlen(string)];
	strcpy(copy_string,string);
	char* command_string_parts[3] = {"","",""};
	int i = 0;
	char* res = strtok(copy_string," ");
	while(res != NULL && i < 3){
		//Set Wait 200 => if we split string with space we have 3 substrings.
		command_string_parts[i] = res;
		i += 1;
		res = strtok(NULL, " ");
	}
	if(
			res != NULL ||
			(
				strcmp(command_string_parts[0],"SET") !=0
				|| strcmp(command_string_parts[1],"WAIT") !=0
			)
	){
		pcr.command_number = -1;
		strcpy(pcr.message , "Command is Wrong!!!\n");
		return pcr;
	}
	int string_wt_len = strlen(command_string_parts[2]);
	char string_wt[string_wt_len];
	int number_wt[string_wt_len];
	strcpy(string_wt,command_string_parts[2]);
	for(int j=0;j<string_wt_len;j++){
		int ascii_char = (int) (string_wt[j]);
		if(ascii_char < 48 || ascii_char > 57){
			pcr.command_number = -1;
			strcpy(pcr.message , "Command parameter is Wrong!!!\n");
			return pcr;
		}else{
			number_wt[j] = ascii_char - 48;
		}
	}
	int sum = 0;
	for(int j=0;j<string_wt_len;j++){
		int tavan = string_wt_len - 1 - j;
		sum += pow(10,tavan) * number_wt[j];
	}
	if(number_wt[string_wt_len-1] !=0 || number_wt[string_wt_len-2] !=0){
		pcr.command_number = -1;
		char msg[50];
		sprintf(msg,"Command parameter should be multiple of 100, while time is %d\n",sum);
		strcpy(pcr.message,msg);
		return pcr;
	}
	if(sum < 500 || sum > 5000){
		pcr.command_number = -1;
		char msg[50];
		sprintf(msg,"Command parameter should be in range [500-5000], while time is %d\n",sum);
		strcpy(pcr.message,msg);
		return pcr;
	}
	char msg[50];
	sprintf(msg,"wait time changed to %d\n",sum);
	strcpy(pcr.message,msg);
	pcr.parameters[0] = sum;
	return pcr;
}
ProcessCommandResult Get_Parameter_In_Command_TEST(char* string){

	ProcessCommandResult pcr = {
		5,"Error",{}
	};
	for(int i=0; i < sizeof(pcr.parameters)/sizeof(pcr.parameters[0]) ; i++){
		pcr.parameters[i] = -1;
	}

	if(state != AS){
		pcr.command_number = -1;
		strcpy(pcr.message,"Admin is not logged\n");
		return pcr;
	}
	char copy_string[strlen(string)];
	strcpy(copy_string,string);
	char* command_string_parts[2] = {"",""};
	int i = 0;
	char* res = strtok(copy_string,"#");
	while(res != NULL && i < 2){
		command_string_parts[i]=res;
		i += 1;
		res = strtok(NULL, " ");
	}
	if(
			res != NULL ||
			(
				strcmp(command_string_parts[0],"TEST") !=0
			)

	){
		strcpy(pcr.message , "Command is Wrong!!!");
		pcr.command_number=-1;
		return pcr;
	}
	int string_queue_len = strlen(command_string_parts[1]);
	if(string_queue_len == 0){
		strcpy(pcr.message , "Command hasn't queue for test!!!\n");
		pcr.command_number=-1;
		return pcr;
	}
	char string_queue[string_queue_len];
	strcpy(string_queue,command_string_parts[1]);
	if(string_queue[0] == '\n' || string_queue[0] == ' '){
		strcpy(pcr.message , "Command hasn't queue for test!!!\n");
		pcr.command_number=-1;
		return pcr;
	}
	i = 0;
	while(string_queue[i] != '\n' && i < string_queue_len){
		if(isdigit(string_queue[i])){
			int test_floor = (int) (string_queue[i]) - 48;
			if(test_floor <= max_level){
				pcr.parameters[i] = (int) (string_queue[i]) - 48;
				if(test_floor == level){
					char msg[50];
					sprintf(msg,"You can't enter current floor{%d} in queue test\n",test_floor);
					strcpy(pcr.message , msg);
					pcr.command_number=-1;
					return pcr;
				}
			}else{
				char msg[50];
				sprintf(msg,"level should be in range 0 ,%d but floor:%d is not\n",max_level,test_floor);
				strcpy(pcr.message , msg);
				pcr.command_number=-1;
				return pcr;
			}
		}else{
			strcpy(pcr.message , "All floors in test queue should be a number\n");
			pcr.command_number=-1;
			return pcr;
		}
		i++;
	}

	int is_reapeted_element = 0;
	int reapeted_level = -1;
	for(int k=0;k<string_queue_len;k++){
		for(int j=0;j<string_queue_len;j++){
			if(k != j && pcr.parameters[k] == pcr.parameters[j]){
				is_reapeted_element = 1;
				reapeted_level = pcr.parameters[k];
			}
		}
	}
	if(is_reapeted_element == 1){
		char msg[50];
		sprintf(msg,"floor: %d already exists in queue!!!\n",reapeted_level);
		strcpy(pcr.message , msg);
		pcr.command_number=-1;
		return pcr;
	}
	strcpy(pcr.message,"Test queue filled successfully!!!\n");
	return pcr;
}
/* USER CODE END 4 */

/**
  * @brief  This function is executed in case of message occurrence.
  * @retval None
  */
void Error_Handler(void)
{
  __disable_irq();
  while (1)
  {
  }
}
